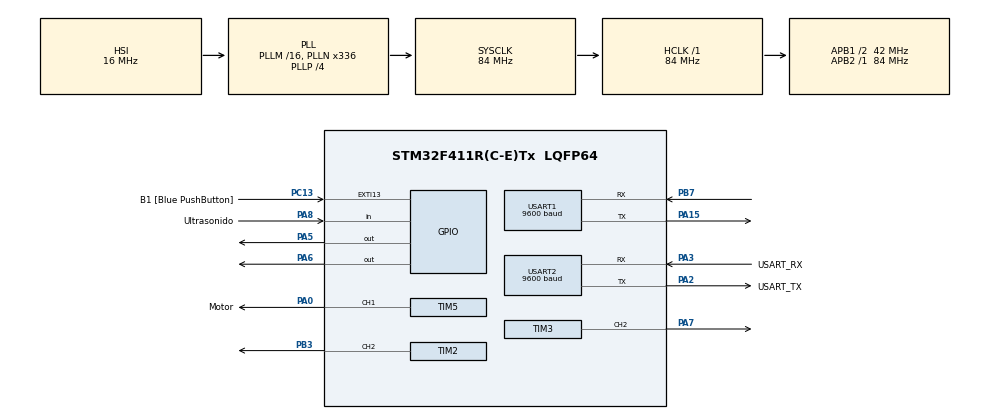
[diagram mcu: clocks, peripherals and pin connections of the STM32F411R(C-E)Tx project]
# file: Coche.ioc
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Dma.Request0=USART2_RX
Dma.USART2_RX.0.Direction=DMA_PERIPH_TO_MEMORY
Dma.USART2_RX.0.FIFOMode=DMA_FIFOMODE_DISABLE
Dma.USART2_RX.0.Instance=DMA1_Stream5
Dma.USART2_RX.0.MemDataAlignment=DMA_MDATAALIGN_BYTE
Dma.USART2_RX.0.MemInc=DMA_MINC_ENABLE
Dma.USART2_RX.0.Mode=DMA_NORMAL
Dma.USART2_RX.0.PeriphDataAlignment=DMA_PDATAALIGN_BYTE
Dma.USART2_RX.0.PeriphInc=DMA_PINC_DISABLE
Dma.USART2_RX.0.Priority=DMA_PRIORITY_LOW
Mcu.Family=STM32F4
Mcu.Name=STM32F411R(C-E)Tx
Mcu.Package=LQFP64
NVIC.DMA1_Stream5_IRQn=true\:0\:0\:false\:false\:true\:false\:true
NVIC.PriorityGroup=NVIC_PRIORITYGROUP_0
NVIC.TIM1_TRG_COM_TIM11_IRQn=true\:0\:0\:false\:false\:true\:true\:true
NVIC.TIM5_IRQn=true\:0\:0\:false\:false\:true\:true\:true
NVIC.USART1_IRQn=true\:0\:0\:false\:false\:true\:true\:true
PA0-WKUP.GPIO_Label=Motor
PA0-WKUP.Signal=S_TIM5_CH1
PA13.GPIO_Label=TMS
PA13.Mode=Serial_Wire
PA13.Signal=SYS_JTMS-SWDIO
PA14.GPIO_Label=TCK
PA14.Mode=Serial_Wire
PA14.Signal=SYS_JTCK-SWCLK
PA15.Mode=Asynchronous
PA15.Signal=USART1_TX
PA2.GPIO_Label=USART_TX
PA2.Mode=Asynchronous
PA2.Signal=USART2_TX
PA3.GPIO_Label=USART_RX
PA3.Mode=Asynchronous
PA3.Signal=USART2_RX
PA5.Signal=GPIO_Output
PA6.Signal=GPIO_Output
PA7.Signal=S_TIM3_CH2
PA8.GPIO_Label=Ultrasonido
PA8.Signal=GPIO_Input
PB3.Signal=S_TIM2_CH2
PB7.Mode=Asynchronous
PB7.Signal=USART1_RX
PC13-ANTI_TAMP.GPIO_Label=B1 [Blue PushButton]
PC13-ANTI_TAMP.GPIO_ModeDefaultEXTI=GPIO_MODE_IT_FALLING
PC13-ANTI_TAMP.Signal=GPXTI13
PC14-OSC32_IN.Mode=LSE-External-Oscillator
PC14-OSC32_IN.Signal=RCC_OSC32_IN
PC15-OSC32_OUT.Mode=LSE-External-Oscillator
PC15-OSC32_OUT.Signal=RCC_OSC32_OUT
PH0\ -\ OSC_IN.Mode=HSE-External-Clock-Source
PH0\ -\ OSC_IN.Signal=RCC_OSC_IN
PH1\ -\ OSC_OUT.Mode=HSE-External-Clock-Source
PH1\ -\ OSC_OUT.Signal=RCC_OSC_OUT
ProjectManager.HeapSize=0x200
ProjectManager.StackSize=0x400
ProjectManager.TargetToolchain=Makefile
RCC.48MHZClocksFreq_Value=84000000
RCC.AHBFreq_Value=84000000
RCC.APB1CLKDivider=RCC_HCLK_DIV2
RCC.APB1Freq_Value=42000000
RCC.APB1TimFreq_Value=84000000
RCC.APB2Freq_Value=84000000
RCC.APB2TimFreq_Value=84000000
RCC.CortexFreq_Value=84000000
RCC.FLatency-AdvancedSettings=FLASH_LATENCY_2
RCC.HCLKFreq_Value=84000000
RCC.HSE_VALUE=8000000
RCC.HSI_VALUE=16000000
RCC.PLLN=336
RCC.PLLP=RCC_PLLP_DIV4
RCC.SYSCLKFreq_VALUE=84000000
RCC.SYSCLKSource=RCC_SYSCLKSOURCE_PLLCLK
RCC.VCOOutputFreq_Value=336000000
SH.S_TIM2_CH2.0=TIM2_CH2,PWM Generation2 CH2
SH.S_TIM3_CH2.0=TIM3_CH2,PWM Generation2 CH2
SH.S_TIM5_CH1.0=TIM5_CH1,PWM Generation1 CH1
TIM11.Period=9
TIM11.Prescaler=83
TIM2.Channel-PWM\ Generation2\ CH2=TIM_CHANNEL_2
TIM2.Period=999
TIM2.Prescaler=1679
TIM3.Channel-PWM\ Generation2\ CH2=TIM_CHANNEL_2
TIM3.Period=999
TIM3.Prescaler=1679
TIM5.Channel-PWM\ Generation1\ CH1=TIM_CHANNEL_1
TIM5.Period=999
TIM5.Prescaler=1679
USART1.BaudRate=9600
USART1.VirtualMode=VM_ASYNC
USART2.BaudRate=9600
USART2.VirtualMode=VM_ASYNC
VP_TIM11_VS_ClockSourceINT.Mode=Enable_Timer
board=NUCLEO-F411RE

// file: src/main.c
/* USER CODE BEGIN Header */
/**
  ******************************************************************************
  * @file           : main.c
  * @brief          : Main program body
  ******************************************************************************
  * @attention
  *
  * <h2><center>&copy; Copyright (c) 2019 STMicroelectronics.
  * All rights reserved.</center></h2>
  *
  * This software component is licensed by ST under BSD 3-Clause license,
  * the "License"; You may not use this file except in compliance with the
  * License. You may obtain a copy of the License at:
  *                        opensource.org/licenses/BSD-3-Clause
  *
  ******************************************************************************
  */
/* USER CODE END Header */

#include "main.h"
#define RECTO 0
#define DERECHA 1
#define IZQUIERDA 2
#define DETRAS 3
#define RD 4
#define RI 5
#define DD 6
#define DI 7

TIM_HandleTypeDef htim2;
TIM_HandleTypeDef htim3;
TIM_HandleTypeDef htim5;
TIM_HandleTypeDef htim11;

UART_HandleTypeDef huart1;
UART_HandleTypeDef huart2;
DMA_HandleTypeDef hdma_usart2_rx;

/* USER CODE BEGIN PV */
unsigned char data[1];  /*Variable para almacenar el dato que recibimos del bluetooth*/
int volatile times = 0; /*Variable para contar las veces que salta la interrupción por el TIM11*/
int moverse = 1;        /*Variable para mover o no el coche*/
/* USER CODE END PV */

void SystemClock_Config(void);
static void MX_GPIO_Init(void);
static void MX_DMA_Init(void);
static void MX_TIM2_Init(void);
static void MX_TIM3_Init(void);
static void MX_TIM5_Init(void);
static void MX_TIM11_Init(void);
static void MX_USART1_UART_Init(void);
static void MX_USART2_UART_Init(void);

int main(void)
{

  /* MCU Configuration--------------------------------------------------------*/

  /* Reset of all peripherals, Initializes the Flash interface and the Systick. */
  HAL_Init();

  /* Configure the system clock */
  SystemClock_Config();

  /* Initialize all configured peripherals */
  MX_GPIO_Init();
  MX_DMA_Init();
  MX_TIM2_Init();
  MX_TIM3_Init();
  MX_TIM5_Init();
  MX_TIM11_Init();
  MX_USART1_UART_Init();
  MX_USART2_UART_Init();
  HAL_TIM_Base_Start(&htim2);
  HAL_TIM_Base_Start(&htim3);
  HAL_TIM_Base_Start(&htim5);
  HAL_TIM_Base_Start(&htim11);
  HAL_TIM_PWM_Start(&htim5, TIM_CHANNEL_1);
  HAL_TIM_PWM_Start(&htim2, TIM_CHANNEL_2);
  HAL_TIM_PWM_Start(&htim3, TIM_CHANNEL_2);
  HAL_TIM_Base_Start_IT(&htim2);
  HAL_TIM_Base_Start_IT(&htim3);
  HAL_TIM_Base_Start_IT(&htim5);
  /* USER CODE BEGIN 2 */
  HAL_TIM_Base_Start_IT(&htim11);
  /* USER CODE END 2 */

  /* Infinite loop */
  /* USER CODE BEGIN WHILE */
  while (1)
  {
    ultrasonidos();
    HAL_Delay(50);
    /*Recibimos la letra correspondiente a la instrucción debe realizar el coche*/
    HAL_UART_Receive_IT(&huart1, data, sizeof(data));

    switch (data[0])
    {
    case 'F': /*Ir hacia delante*/
      moverMotor(RECTO);
      if (moverse == 1)
      {
        htim2.Instance->CCR2 = 1000;  /*Mover la rueda izquierda*/
        htim3.Instance->CCR2 = 1000;  /*Mover la rueda derecha*/
      }
      break;
    case 'B': /*Ir hacia atrás*/
      moverMotor(DETRAS);
      moverse = 1;
      htim2.Instance->CCR2 = 1000;
      htim3.Instance->CCR2 = 1000;
      break;
    case 'R': /*Girar a la derecha*/
      moverMotor(DERECHA);
      if (moverse == 1)
      {
        htim2.Instance->CCR2 = 1000;
        htim3.Instance->CCR2 = 1000;
      }
      break;
    case 'L': /*Girar a la izquierda*/
      moverMotor(IZQUIERDA);
      if (moverse == 1)
      {
        htim2.Instance->CCR2 = 1000;
        htim3.Instance->CCR2 = 1000;
      }
      break;
    case 'I': /*Girar a la derecha mientras avanzamos hacia delante*/
      moverMotor(RD);
      if (moverse == 1)
      {
        htim2.Instance->CCR2 = 1000;
        htim3.Instance->CCR2 = 0;   /*Parar la rueda derecha*/
      }
      break;
    case 'G': /*Girar a la izquierda mientras avanzamos hacia delante*/
      moverMotor(RI);
      if (moverse == 1)
      {
        htim2.Instance->CCR2 = 0;   /*Parar la rueda izquierda*/
        htim3.Instance->CCR2 = 1000;
      }
      break;
    case 'J': /*Girar a la derecha mientras avanzamos hacia atrás*/
      moverMotor(DD);
      if (moverse == 1)
      {
        htim2.Instance->CCR2 = 1000;
        htim3.Instance->CCR2 = 0;
      }
      break;
    case 'H': /*Girar a la izquierda mientras avanzamos hacia atrás*/
      moverMotor(DI);
      if (moverse == 1)
      {
        htim2.Instance->CCR2 = 0;
        htim3.Instance->CCR2 = 1000;
      }
      break;
    default: /*Quedarse quieto*/
      htim2.Instance->CCR2 = 0;
      htim3.Instance->CCR2 = 0;
      break;
    }
  }
}

/*En este método giramos el servoMotor al lado necesario para detectar
obstáculos con el sensor de ultrasonidos y hacemos que las ruedas giren
en un sentido o en otro*/
void moverMotor(int modo)
{
  switch (modo)
  {
  case RECTO:     /*Ir hacia delante*/
    htim5.Instance->CCR1 = 62;                                          /*Movemos el servo hacia delante*/
    HAL_GPIO_WritePin(GPIOA, GPIO_PIN_5 | GPIO_PIN_6, GPIO_PIN_RESET);  /*Dirección de las ruedas hacia delante*/
    break;
  case DERECHA:   /*Girar hacia la derecha*/
    htim5.Instance->CCR1 = 27;                                          /*Movemos el servo hacia la derecha*/
    HAL_GPIO_WritePin(GPIOA, GPIO_PIN_5, GPIO_PIN_SET);                 /*Dirección de la rueda derecha hacia atrás*/
    HAL_GPIO_WritePin(GPIOA, GPIO_PIN_6, GPIO_PIN_RESET);               /*Dirección de la rueda izquierda hacia delante*/
    break;
  case IZQUIERDA: /*Girar hacia la izquierda*/
    htim5.Instance->CCR1 = 105;                                         /*Movemos el servo hacia la izquierda*/
    HAL_GPIO_WritePin(GPIOA, GPIO_PIN_5, GPIO_PIN_RESET);               /*Dirección de la rueda derecha hacia delante*/
    HAL_GPIO_WritePin(GPIOA, GPIO_PIN_6, GPIO_PIN_SET);                 /*Dirección de la rueda izquierda hacia atrás*/
    break;
  case DETRAS:    /*Ir hacia atrás*/
    HAL_GPIO_WritePin(GPIOA, GPIO_PIN_5 | GPIO_PIN_6, GPIO_PIN_SET);    /*Dirección de las ruedas hacia atrás*/
    break;
  case RD:        /*Girar a la derecha mientras avanzamos hacia delante*/
    htim5.Instance->CCR1 = 44;                                          /*Movemos el servo hacia la diagonal derecha*/
    HAL_GPIO_WritePin(GPIOA, GPIO_PIN_5 | GPIO_PIN_6, GPIO_PIN_RESET);
    break;
  case RI:        /*Girar a la izquierda mientras avanzamos hacia delante*/
    htim5.Instance->CCR1 = 80;                                          /*Movemos el servo hacia la diagonal izquierda*/
    HAL_GPIO_WritePin(GPIOA, GPIO_PIN_5 | GPIO_PIN_6, GPIO_PIN_RESET);
    break;
  case DD:        /*Girar a la derecha mientras avanzamos hacia atrás*/
    HAL_GPIO_WritePin(GPIOA, GPIO_PIN_5 | GPIO_PIN_6, GPIO_PIN_SET);
    break;
  case DI:        /*Girar a la izquierda mientras avanzamos hacia atrás*/
    HAL_GPIO_WritePin(GPIOA, GPIO_PIN_5 | GPIO_PIN_6, GPIO_PIN_SET);
    break;
  }
}

void SystemClock_Config(void)
{
  RCC_OscInitTypeDef RCC_OscInitStruct = {0};
  RCC_ClkInitTypeDef RCC_ClkInitStruct = {0};

  /** Configure the main internal regulator output voltage
  */
  __HAL_RCC_PWR_CLK_ENABLE();
  __HAL_PWR_VOLTAGESCALING_CONFIG(PWR_REGULATOR_VOLTAGE_SCALE1);
  /** Initializes the CPU, AHB and APB busses clocks
  */
  RCC_OscInitStruct.OscillatorType = RCC_OSCILLATORTYPE_HSI;
  RCC_OscInitStruct.HSIState = RCC_HSI_ON;
  RCC_OscInitStruct.HSICalibrationValue = RCC_HSICALIBRATION_DEFAULT;
  RCC_OscInitStruct.PLL.PLLState = RCC_PLL_ON;
  RCC_OscInitStruct.PLL.PLLSource = RCC_PLLSOURCE_HSI;
  RCC_OscInitStruct.PLL.PLLM = 16;
  RCC_OscInitStruct.PLL.PLLN = 336;
  RCC_OscInitStruct.PLL.PLLP = RCC_PLLP_DIV4;
  RCC_OscInitStruct.PLL.PLLQ = 4;
  if (HAL_RCC_OscConfig(&RCC_OscInitStruct) != HAL_OK)
  {
    Error_Handler();
  }
  /** Initializes the CPU, AHB and APB busses clocks
  */
  RCC_ClkInitStruct.ClockType = RCC_CLOCKTYPE_HCLK | RCC_CLOCKTYPE_SYSCLK | RCC_CLOCKTYPE_PCLK1 | RCC_CLOCKTYPE_PCLK2;
  RCC_ClkInitStruct.SYSCLKSource = RCC_SYSCLKSOURCE_PLLCLK;
  RCC_ClkInitStruct.AHBCLKDivider = RCC_SYSCLK_DIV1;
  RCC_ClkInitStruct.APB1CLKDivider = RCC_HCLK_DIV2;
  RCC_ClkInitStruct.APB2CLKDivider = RCC_HCLK_DIV1;

  if (HAL_RCC_ClockConfig(&RCC_ClkInitStruct, FLASH_LATENCY_2) != HAL_OK)
  {
    Error_Handler();
  }
}

static void MX_TIM2_Init(void)
{

  TIM_MasterConfigTypeDef sMasterConfig = {0};
  TIM_OC_InitTypeDef sConfigOC = {0};

  htim2.Instance = TIM2;
  htim2.Init.Prescaler = 1679;
  htim2.Init.CounterMode = TIM_COUNTERMODE_UP;
  htim2.Init.Period = 999;
  htim2.Init.ClockDivision = TIM_CLOCKDIVISION_DIV1;
  if (HAL_TIM_PWM_Init(&htim2) != HAL_OK)
  {
    Error_Handler();
  }
  sMasterConfig.MasterOutputTrigger = TIM_TRGO_RESET;
  sMasterConfig.MasterSlaveMode = TIM_MASTERSLAVEMODE_DISABLE;
  if (HAL_TIMEx_MasterConfigSynchronization(&htim2, &sMasterConfig) != HAL_OK)
  {
    Error_Handler();
  }
  sConfigOC.OCMode = TIM_OCMODE_PWM1;
  sConfigOC.Pulse = 0;
  sConfigOC.OCPolarity = TIM_OCPOLARITY_HIGH;
  sConfigOC.OCFastMode = TIM_OCFAST_DISABLE;
  if (HAL_TIM_PWM_ConfigChannel(&htim2, &sConfigOC, TIM_CHANNEL_2) != HAL_OK)
  {
    Error_Handler();
  }
  HAL_TIM_MspPostInit(&htim2);
}

static void MX_TIM3_Init(void)
{

  TIM_MasterConfigTypeDef sMasterConfig = {0};
  TIM_OC_InitTypeDef sConfigOC = {0};

  htim3.Instance = TIM3;
  htim3.Init.Prescaler = 1679;
  htim3.Init.CounterMode = TIM_COUNTERMODE_UP;
  htim3.Init.Period = 999;
  htim3.Init.ClockDivision = TIM_CLOCKDIVISION_DIV1;
  if (HAL_TIM_PWM_Init(&htim3) != HAL_OK)
  {
    Error_Handler();
  }
  sMasterConfig.MasterOutputTrigger = TIM_TRGO_RESET;
  sMasterConfig.MasterSlaveMode = TIM_MASTERSLAVEMODE_DISABLE;
  if (HAL_TIMEx_MasterConfigSynchronization(&htim3, &sMasterConfig) != HAL_OK)
  {
    Error_Handler();
  }
  sConfigOC.OCMode = TIM_OCMODE_PWM1;
  sConfigOC.Pulse = 0;
  sConfigOC.OCPolarity = TIM_OCPOLARITY_HIGH;
  sConfigOC.OCFastMode = TIM_OCFAST_DISABLE;
  if (HAL_TIM_PWM_ConfigChannel(&htim3, &sConfigOC, TIM_CHANNEL_2) != HAL_OK)
  {
    Error_Handler();
  }
  HAL_TIM_MspPostInit(&htim3);
}

static void MX_TIM5_Init(void)
{

  TIM_MasterConfigTypeDef sMasterConfig = {0};
  TIM_OC_InitTypeDef sConfigOC = {0};

  htim5.Instance = TIM5;
  htim5.Init.Prescaler = 1679;
  htim5.Init.CounterMode = TIM_COUNTERMODE_UP;
  htim5.Init.Period = 999;
  htim5.Init.ClockDivision = TIM_CLOCKDIVISION_DIV1;
  if (HAL_TIM_PWM_Init(&htim5) != HAL_OK)
  {
    Error_Handler();
  }
  sMasterConfig.MasterOutputTrigger = TIM_TRGO_RESET;
  sMasterConfig.MasterSlaveMode = TIM_MASTERSLAVEMODE_DISABLE;
  if (HAL_TIMEx_MasterConfigSynchronization(&htim5, &sMasterConfig) != HAL_OK)
  {
    Error_Handler();
  }
  sConfigOC.OCMode = TIM_OCMODE_PWM1;
  sConfigOC.Pulse = 0;
  sConfigOC.OCPolarity = TIM_OCPOLARITY_HIGH;
  sConfigOC.OCFastMode = TIM_OCFAST_DISABLE;
  if (HAL_TIM_PWM_ConfigChannel(&htim5, &sConfigOC, TIM_CHANNEL_1) != HAL_OK)
  {
    Error_Handler();
  }
  HAL_TIM_MspPostInit(&htim5);
}

static void MX_TIM11_Init(void)
{

  htim11.Instance = TIM11;
  htim11.Init.Prescaler = 83;
  htim11.Init.CounterMode = TIM_COUNTERMODE_UP;
  htim11.Init.Period = 9;
  htim11.Init.ClockDivision = TIM_CLOCKDIVISION_DIV1;
  if (HAL_TIM_Base_Init(&htim11) != HAL_OK)
  {
    Error_Handler();
  }
}

static void MX_USART1_UART_Init(void)
{

  huart1.Instance = USART1;
  huart1.Init.BaudRate = 9600;
  huart1.Init.WordLength = UART_WORDLENGTH_8B;
  huart1.Init.StopBits = UART_STOPBITS_1;
  huart1.Init.Parity = UART_PARITY_NONE;
  huart1.Init.Mode = UART_MODE_TX_RX;
  huart1.Init.HwFlowCtl = UART_HWCONTROL_NONE;
  huart1.Init.OverSampling = UART_OVERSAMPLING_16;
  if (HAL_UART_Init(&huart1) != HAL_OK)
  {
    Error_Handler();
  }
}

static void MX_USART2_UART_Init(void)
{

  huart2.Instance = USART2;
  huart2.Init.BaudRate = 9600;
  huart2.Init.WordLength = UART_WORDLENGTH_8B;
  huart2.Init.StopBits = UART_STOPBITS_1;
  huart2.Init.Parity = UART_PARITY_NONE;
  huart2.Init.Mode = UART_MODE_TX_RX;
  huart2.Init.HwFlowCtl = UART_HWCONTROL_NONE;
  huart2.Init.OverSampling = UART_OVERSAMPLING_16;
  if (HAL_UART_Init(&huart2) != HAL_OK)
  {
    Error_Handler();
  }
}

static void MX_DMA_Init(void)
{
  /* DMA controller clock enable */
  __HAL_RCC_DMA1_CLK_ENABLE();

  /* DMA interrupt init */
  /* DMA1_Stream5_IRQn interrupt configuration */
  HAL_NVIC_SetPriority(DMA1_Stream5_IRQn, 0, 0);
  HAL_NVIC_EnableIRQ(DMA1_Stream5_IRQn);
}

static void MX_GPIO_Init(void)
{
  GPIO_InitTypeDef GPIO_InitStruct = {0};

  /* GPIO Ports Clock Enable */
  __HAL_RCC_GPIOC_CLK_ENABLE();
  __HAL_RCC_GPIOH_CLK_ENABLE();
  __HAL_RCC_GPIOA_CLK_ENABLE();
  __HAL_RCC_GPIOB_CLK_ENABLE();

  /*Configure GPIO pin Output Level */
  HAL_GPIO_WritePin(GPIOA, GPIO_PIN_5 | GPIO_PIN_6, GPIO_PIN_RESET);

  /*Configure GPIO pin : B1_Pin */
  GPIO_InitStruct.Pin = B1_Pin;
  GPIO_InitStruct.Mode = GPIO_MODE_IT_FALLING;
  GPIO_InitStruct.Pull = GPIO_NOPULL;
  HAL_GPIO_Init(B1_GPIO_Port, &GPIO_InitStruct);

  /*Configure GPIO pins : PA5 PA6 */
  GPIO_InitStruct.Pin = GPIO_PIN_5 | GPIO_PIN_6;
  GPIO_InitStruct.Mode = GPIO_MODE_OUTPUT_PP;
  GPIO_InitStruct.Pull = GPIO_NOPULL;
  GPIO_InitStruct.Speed = GPIO_SPEED_FREQ_LOW;
  HAL_GPIO_Init(GPIOA, &GPIO_InitStruct);

  /*Configure GPIO pin : Ultrasonido_Pin */
  GPIO_InitStruct.Pin = Ultrasonido_Pin;
  GPIO_InitStruct.Mode = GPIO_MODE_INPUT;
  GPIO_InitStruct.Pull = GPIO_NOPULL;
  HAL_GPIO_Init(Ultrasonido_GPIO_Port, &GPIO_InitStruct);
}

/* USER CODE BEGIN 4 */
void HAL_UART_RxCpltCallback(UART_HandleTypeDef *huart)
{
  HAL_UART_Receive_IT(&huart1, data, sizeof(data));
}

int __io_putchar(int ch)
{
  uint8_t c[1];
  c[0] = ch & 0x00FF;
  HAL_UART_Transmit(&huart2, &*c, 1, 100);
  return ch;
}

int _write(int file, char *ptr, int len)
{
  int DataIdx;
  for (DataIdx = 0; DataIdx < len; DataIdx++)
  {
    __io_putchar(*ptr++);
  }
  return len;
}

/*Cambiamos el modo del pin 8 (Ultrasonido)*/
void cambiarModoPin(int modo)
{
  GPIO_InitTypeDef GPIO_InitStruct = {0};
  if (modo == 0)      /*Output*/
  {
    GPIO_InitStruct.Pin = GPIO_PIN_8;
    GPIO_InitStruct.Mode = GPIO_MODE_OUTPUT_PP;
    GPIO_InitStruct.Pull = GPIO_NOPULL;
    HAL_GPIO_Init(GPIOA, &GPIO_InitStruct);
  }
  else if (modo == 1) /*Input*/
  {
    GPIO_InitStruct.Pin = GPIO_PIN_8;
    GPIO_InitStruct.Mode = GPIO_MODE_INPUT;
    GPIO_InitStruct.Pull = GPIO_NOPULL;
    HAL_GPIO_Init(GPIOA, &GPIO_InitStruct);
  }
}
/*Calculamos la distancia a la que tenemos el obstáculo*/
int calcularDistanciaCm(int veces)
{
  int distancia = 0;
  distancia = (veces * 10) / 58;
  HAL_Delay(10);
  return distancia;
}

/*Usamos el sensor de ultrasonidos para enviar y recibir
  una señal para saber cómo de lejos tenemos el obstáculo*/
void ultrasonidos()
{
  int times2 = 0;
  int times3 = 0;
  cambiarModoPin(0); /*Modo output*/
  times = 0;
  HAL_GPIO_WritePin(GPIOA, GPIO_PIN_8, GPIO_PIN_SET);

  while (times >= 1)
  {
  }

  cambiarModoPin(1); /*Modo Input*/

  while (!(GPIOA->IDR & GPIO_IDR_ID8_Msk))  /*Esperamos mientras que el Pin 8 tenga valor 0*/
  {
  }
  times2 = times;
  while ((GPIOA->IDR & GPIO_IDR_ID8_Msk))   /*Esperamos mientras que el Pin 8 tenga valor 1*/
  {
  }
  times3 = times;

  if (calcularDistanciaCm(times3 - times2) < 30)
  {
    moverse = 0;
  }
  else
  {
    moverse = 1;
  }
}
void HAL_TIM_PeriodElapsedCallback(TIM_HandleTypeDef *htim)
{
  if (htim->Instance == TIM11)
  {
    times++;
  }
}
/* USER CODE END 4 */

void Error_Handler(void)
{
}

/************************ (C) COPYRIGHT STMicroelectronics *****END OF FILE****/
